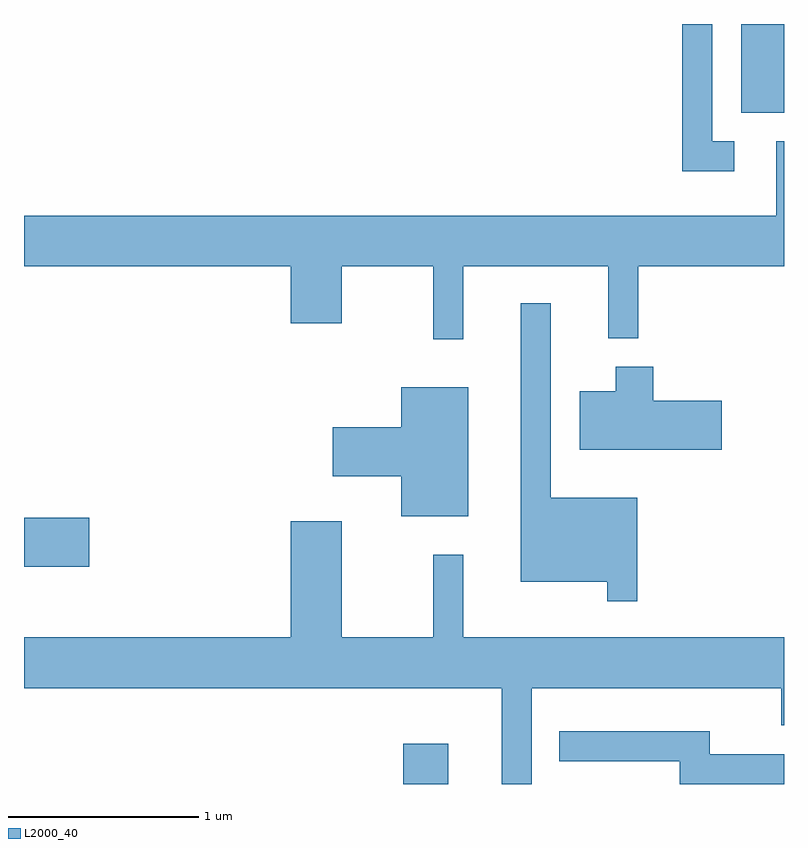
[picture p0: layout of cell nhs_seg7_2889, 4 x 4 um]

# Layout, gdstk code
import gdstk
lib = gdstk.Library(unit=1e-6, precision=1e-09)
def R(c, l, rs):  # rectangles x0, y0, x1, y1
    for r in rs: c.add(gdstk.rectangle(r[:2], r[2:], *l))
def P(c, l, *ps):  # polygons
    for p in ps: c.add(gdstk.Polygon(p, *l))
L2000_40 = (2000, 40)

nhs_seg7_2889 = lib.new_cell('nhs_seg7_2889')
R(nhs_seg7_2889, L2000_40, [(275.606,1718.252,275.844,1718.464), (273.611,1719.396,273.954,1719.654), (277.386,1721.786,277.611,1722.252)])
P(nhs_seg7_2889, L2000_40, [(277.348,1721.634),(277.234,1721.634),(277.234,1722.252),(277.076,1722.252),(277.076,1721.476),(277.348,1721.476)],
  [(275.924,1720.976),(276.686,1720.976),(276.686,1720.598),(276.844,1720.598),(276.844,1720.976),(277.611,1720.976),(277.611,1721.634),(277.571,1721.634),(277.571,1721.244),(273.611,1721.244),(273.611,1720.976),(275.016,1720.976),(275.016,1720.676),(275.284,1720.676),(275.284,1720.976),(275.766,1720.976),(275.766,1720.593),(275.924,1720.593)],
  [(276.839,1719.759),(276.384,1719.759),(276.384,1720.783),(276.226,1720.783),(276.226,1719.316),(276.681,1719.316),(276.681,1719.213),(276.839,1719.213)],
  [(277.284,1720.269),(276.924,1720.269),(276.924,1720.449),(276.726,1720.449),(276.726,1720.319),(276.536,1720.319),(276.536,1720.011),(277.284,1720.011)],
  [(275.949,1720.339),(275.596,1720.339),(275.596,1720.129),(275.236,1720.129),(275.236,1719.871),(275.596,1719.871),(275.596,1719.661),(275.949,1719.661)],
  [(276.284,1718.756),(277.596,1718.756),(277.596,1718.561),(277.611,1718.561),(277.611,1719.024),(275.924,1719.024),(275.924,1719.458),(275.766,1719.458),(275.766,1719.024),(275.284,1719.024),(275.284,1719.634),(275.016,1719.634),(275.016,1719.024),(273.611,1719.024),(273.611,1718.756),(276.126,1718.756),(276.126,1718.252),(276.284,1718.252)],
  [(277.611,1718.409),(277.219,1718.409),(277.219,1718.529),(276.428,1718.529),(276.428,1718.371),(277.061,1718.371),(277.061,1718.252),(277.611,1718.252)])

lib.write_gds('nhs_seg7_2889.gds')
